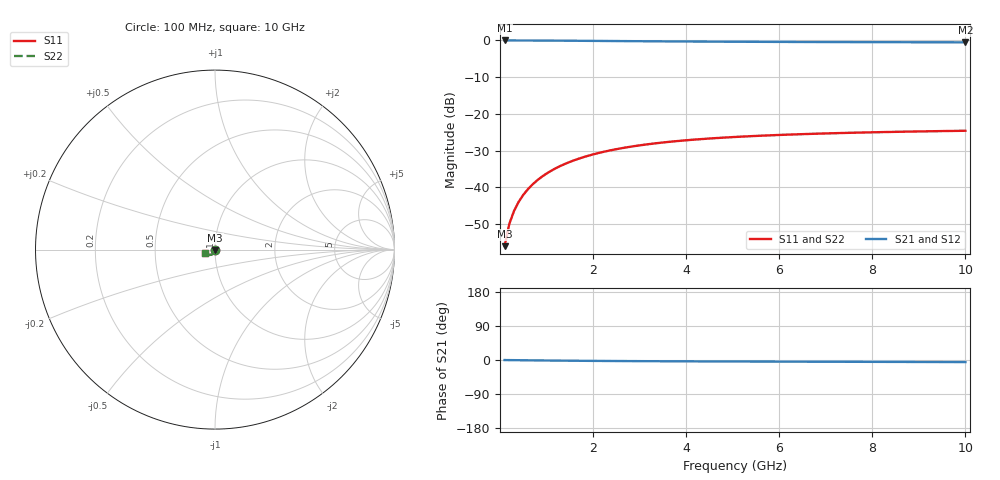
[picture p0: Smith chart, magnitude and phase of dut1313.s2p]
! Touchstone file exported from HFSS 2024.1.0
!  File:  C:/UserFiles/LocalFiles/RDL_TSV_Batchsim/temp_TSV1_1313_1780373729.aedt
!  Generated:  12:21:41 PM Jun  2, 2026
!  Design:  TSV1
!  Project:  temp_TSV1_1313_1780373729
!  Setup:  Setup1
!  Solution:  Sweep
! Variables:
!  dtsv = 11.76um
!  hbump = 3um
!  htsv = 86.37um
!  lrdl = 252.1521522um
!  p = 40
!  p1 = 45.08um
!  t = 500um
!  trdl = 3um
!  wrdl = 24.89489489um
# GHz S MA R 50.000000
! Terminal data exported
! Port[1] = TSV22_T1
! Port[2] = TSV22_T2
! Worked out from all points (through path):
!   100 points, 100 MHz to 10 GHz, reference 50 ohm
!   highest |S21| = 0.00 dB at 100 MHz (marker M1); lowest = -0.5 dB at 10 GHz (marker M2)
!   lowest |S11| = -56.0 dB at 100 MHz (marker M3), VSWR 1.00, Z = 50 - j0.159 ohm
!   |S11| at or under -10 dB: start of sweep to end of sweep
!   |S22| runs from -56.0 to -24.6 dB; largest |S21 - S12| = 7.3e-15
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0.1  0.00159 -87.5  0.9998 -0.1  0.9998 -0.1  0.00159 -87.5
! Gamma 0 0 0 0
! Port Impedance 50 0 50 0
0.2  0.003174 -91.0  0.9997 -0.3  0.9997 -0.3  0.003174 -91.0
0.3  0.004759 -93.1  0.9995 -0.4  0.9995 -0.4  0.004759 -93.1
0.4  0.006339 -95.0  0.9991 -0.5  0.9991 -0.5  0.006339 -95.0
0.5  0.007908 -96.8  0.9987 -0.7  0.9987 -0.7  0.007908 -96.8
0.6  0.009461 -98.5  0.9982 -0.8  0.9982 -0.8  0.009461 -98.5
0.7  0.011 -100.1  0.9977 -0.9  0.9977 -0.9  0.011 -100.1
0.8  0.01251 -101.7  0.9971 -1.1  0.9971 -1.1  0.01251 -101.7
0.9  0.01399 -103.3  0.9964 -1.2  0.9964 -1.2  0.01399 -103.3
1.1  0.01688 -106.4  0.9949 -1.4  0.9949 -1.4  0.01688 -106.4
1.4  0.02096 -110.8  0.9923 -1.8  0.9923 -1.8  0.02096 -110.8
1.6  0.0235 -113.5  0.9904 -2.0  0.9904 -2.0  0.0235 -113.5
1.8  0.0259 -116.2  0.9884 -2.2  0.9884 -2.2  0.0259 -116.2
2.1  0.02923 -119.9  0.9853 -2.4  0.9853 -2.4  0.02923 -119.9
2.5  0.03317 -124.4  0.9812 -2.7  0.9812 -2.7  0.03317 -124.4
2.9  0.03659 -128.6  0.9773 -3.0  0.9773 -3.0  0.03659 -128.6
3.4  0.04024 -133.1  0.9726 -3.3  0.9726 -3.3  0.04024 -133.1
4.2  0.04488 -139.3  0.9662 -3.6  0.9662 -3.6  0.04488 -139.4
5.1  0.04881 -145.1  0.9602 -4.0  0.9602 -4.0  0.04881 -145.1
6.7  0.05363 -153.0  0.9523 -4.5  0.9523 -4.5  0.05363 -153.0
8.4  0.05694 -159.3  0.9466 -5.0  0.9466 -5.0  0.05694 -159.3
10  0.05907 -164.1  0.9429 -5.5  0.9429 -5.5  0.05907 -164.1
